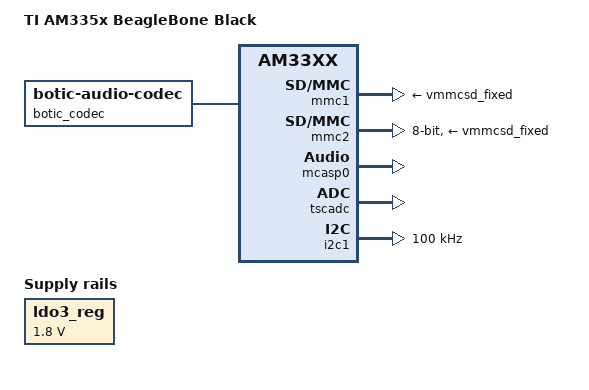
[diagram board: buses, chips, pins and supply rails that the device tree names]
/*
 * Copyright (C) 2012 Texas Instruments Incorporated - http://www.ti.com/
 *
 * This program is free software; you can redistribute it and/or modify
 * it under the terms of the GNU General Public License version 2 as
 * published by the Free Software Foundation.
 */
/dts-v1/;

#include "am33xx.dtsi"
#include "am335x-bone-common-no-capemgr.dtsi"
#include "am33xx-overlay-edma-fix.dtsi"

/ {
	model = "TI AM335x BeagleBone Black";
	compatible = "ti,am335x-bone-black", "ti,am335x-bone", "ti,am33xx";
};

&ldo3_reg {
	regulator-min-microvolt = <1800000>;
	regulator-max-microvolt = <1800000>;
	regulator-always-on;
};

&mmc1 {
	vmmc-supply = <&vmmcsd_fixed>;
};

&mmc2 {
	vmmc-supply = <&vmmcsd_fixed>;
	pinctrl-names = "default";
	pinctrl-0 = <&emmc_pins>;
	bus-width = <8>;
	status = "okay";
};

&cpu0_opp_table {
	/*
	 * All PG 2.0 silicon may not support 1GHz but some of the early
	 * BeagleBone Blacks have PG 2.0 silicon which is guaranteed
	 * to support 1GHz OPP so enable it for PG 2.0 on this board.
	 */
	oppnitro@1000000000 {
		opp-supported-hw = <0x06 0x0100>;
	};
};

/ {
	botic_codec: botic_codec {
		compatible = "botic-audio-codec";
		status = "okay";
	};

	botic {
		compatible = "botic-audio-card";
		status = "okay";

		pinctrl-names = "init", "default", "compat";
		pinctrl-0 = <&botic_cape_common_pins>;
		pinctrl-1 = <&botic_cape_common_pins &botic_cape_default_pins>;
		pinctrl-2 = <&botic_cape_common_pins &botic_cape_compat_pins>;

		audio-port = <&mcasp0>;
		audio-codec = <&botic_codec>;
		audio-codec-dai = "botic-hifi";

		int-masterclk-enable = <&gpio1 27 0>;
		ext-masterclk-switch = <&gpio0 15 0>;
		dsd-format-switch = <&gpio0 14 0>;
		card-power-switch = <&gpio1 18 0>;
	};
};

&am33xx_pinmux {
	botic_cape_common_pins: botic_cape_common_pins {
		pinctrl-single,pins = <
			/* onboard 24.576MHz oscillator control */
			0x06c 0x07      /* gpmc_a11.gpio1_27,         MUX_MODE7 | PIN_OUTPUT_PULLDOWN */
			/* external masterclock enable */
			0x048 0x07      /* gpmc_a2.gpio1_18           MUX_MODE7 | PIN_OUTPUT_PULLDOWN */
			/* external masterclock switch */
			0x184 0x07      /* uart1_txd.gpio0_15         MUX_MODE7 | PIN_OUTPUT_PULLDOWN */
			/* DSD format switch */
			0x180 0x07      /* uart1_rxd.gpio0_14         MUX_MODE7 | PIN_OUTPUT_PULLDOWN */
			/* master clock */
			0x1ac 0x28      /* mcasp0_ahclkx,             MUX_MODE0 | PIN_INPUT(/OUTPUT) */
			/* bitclock */
			0x190 0x28      /* mcasp0_aclkx,              MUX_MODE0 | PIN_INPUT(/OUTPUT) */
			/* wordclock */
			0x194 0x28      /* mcasp0_fsx,                MUX_MODE0 | PIN_INPUT(/OUTPUT) */
			/* data pins */
			0x198 0x28      /* mcasp0_axr0,               MUX_MODE0 | PIN_INPUT(/OUTPUT) */
			0x1a8 0x28      /* mcasp0_axr1,               MUX_MODE0 | PIN_INPUT(/OUTPUT) */
			0x1a4 0x2a      /* mcasp0_fsr.mcasp0.axr3,    MUX_MODE2 | PIN_INPUT(/OUTPUT) */
			/* disable CLKOUT2 to allow usage of mcasp0_axr1 on P9_42 */
			0x1b4 0x2f      /* xdma_event_intr1.gpio0_20, MUX_MODE7 | PIN_INPUT */
		>;
	};
	botic_cape_default_pins: botic_cape_default_pins {
		/* this configuration will allow to use AHCLKR in asynchronous mode later */
		pinctrl-single,pins = <
			/* data pins */
			0x1a0 0x2a      /* mcasp0_aclkr.mcasp0_axr2,  MUX_MODE2 | PIN_INPUT(/OUTPUT) */
			/* disable eCAP0_in_PWM0_out to allow usage of mcasp0_axr2 on P9_41 */
			0x164 0x2f      /* ecap0_in_pwm0_out.gpio0_7, MUX_MODE7 | PIN_INPUT */
		>;
	};
	botic_cape_compat_pins: botic_cape_compat_pins {
		/* compatible with original BBB setup, this output is connected also to HDMI transmitter */
		pinctrl-single,pins = <
			/* data pins */
			0x19c 0x2a      /* mcasp0_ahclkr.mcasp0_axr2, MUX_MODE2 | PIN_INPUT(/OUTPUT) */
		>;
	};

	i2c1_pins: pinmux_bb_i2c1_pins {
		pinctrl-single,pins = <
			0x158 0x72
			0x15c 0x72
		>;
	};
};

/* Enable McASP. Default parameters can be changed during run-time. */
&mcasp0 {
	status = "okay";
	op-mode = <0>;          /* MCASP_IIS_MODE */
	tdm-slots = <2>;
	num-serializer = <4>;
	serial-dir = <  /* 0: INACTIVE, 1: TX, 2: RX */
		1 1 1 1
	>;
	tx-num-evt = <16>;
	rx-num-evt = <1>;
};

/* Enable ADC driver. */
&tscadc {
	status = "okay";
};

/* (Hermes-BBB) A digital volume pot is connected to the AIN4. */
&am335x_adc {
	ti,adc-channels = <4>;
};

/* (Hermes-BBB) The I2C1 for isolated I2C access. */
&i2c1 {
	status = "okay";
	pinctrl-names = "default";
	pinctrl-0 = <&i2c1_pins>;
	clock-frequency = <100000>;
};
